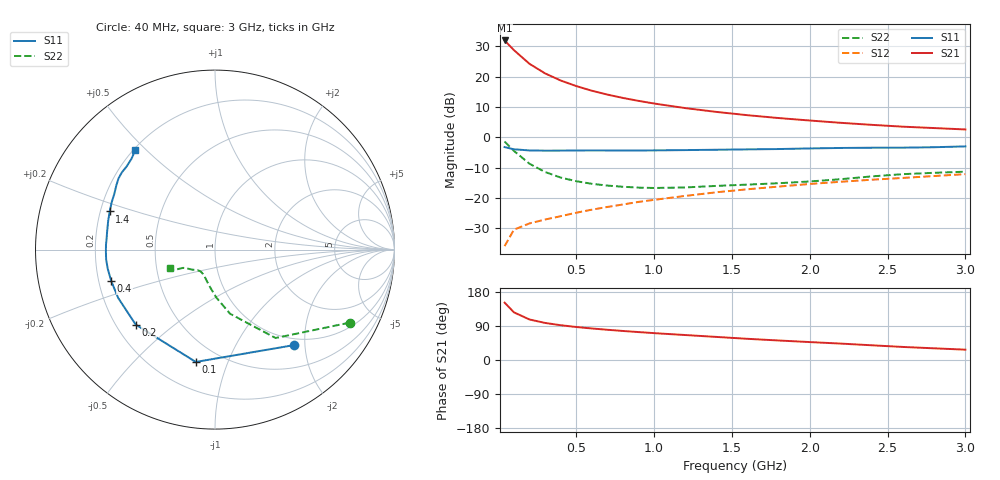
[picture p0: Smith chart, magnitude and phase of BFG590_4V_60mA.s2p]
! Filename:  BFG590F.S2P  Version:  4.0
! Philips part #: BFG590  Date: Jun 1994
! Bias condition: Vce=4V; Ic=60mA
#  MHz  S  MA  R  50
! Freq  S11  S21  S12  S22  !GUM [dB]
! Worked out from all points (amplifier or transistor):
!   21 points, 40 MHz to 3 GHz, reference 50 ohm
!   highest |S21| = 32.0 dB at 40 MHz (marker M1)
!   |S21| within 3 dB of that: start of sweep to 96.19 MHz
!   unconditionally stable (mu >= 1): 713.2 MHz to 2.613 GHz
!   at 300 MHz: K = 0.70, MSG = 24.1 dB, |S12| = -27.1 dB
!   at 1 GHz: K = 1.07, MAG = 14.2 dB, |S12| = -20.6 dB
!   at 3 GHz: K = 0.92, MSG = 7.4 dB, |S12| = -12.1 dB
!   S11 on the Smith chart (normalised r, x): 40 MHz: 0.88, -1.78; 100 MHz: 0.37, -0.77; 200 MHz: 0.28, -0.37; 400 MHz: 0.25, -0.14; 1.4 GHz: 0.24, +0.17; 3 GHz: 0.21, +0.46
40  0.69 -50.5  39.7 151.4  0.016 67.8  0.853 -28.5
100  0.635 -99.7  27.45 125.7  0.03 50.7  0.597 -55.6
200  0.608 -136.6  16.34 106.9  0.038 44.9  0.367 -76.8
300  0.603 -153.5  11.36 97.8  0.044 46.9  0.268 -88.3
400  0.604 -163.1  8.672 91.8  0.05 50.3  0.217 -96.3
500  0.607 -169.8  7.014 87.1  0.057 52.7  0.189 -102.5
600  0.609 -174.7  5.882 83.2  0.064 55.2  0.171 -107.5
700  0.608 -178.9  5.077 79.8  0.071 57.2  0.16 -111.8
800  0.608 177.5  4.469 76.6  0.078 58.7  0.153 -115.4
900  0.607 174.1  3.999 73.7  0.086 59.8  0.148 -119.4
1000  0.609 170.9  3.616 70.9  0.093 60.5  0.146 -123.1
1200  0.616 165.1  3.04 65.9  0.108 61.3  0.149 -129.6
1400  0.624 160.1  2.629 60.9  0.124 61.5  0.158 -134.1
1600  0.633 155.5  2.32 55.9  0.139 61.1  0.166 -137.5
1800  0.641 151.1  2.082 51.5  0.154 60.8  0.175 -141.2
2000  0.656 146.9  1.895 47.3  0.17 60.1  0.187 -145.9
2200  0.668 143.6  1.736 43.3  0.185 59.3  0.204 -150.1
2400  0.674 140.4  1.607 38.8  0.2 57.8  0.227 -151.9
2600  0.676 136.8  1.499 34.4  0.214 55.9  0.247 -152.9
2800  0.687 132.7  1.423 30.8  0.23 54.6  0.26 -154.2
3000  0.709 128.8  1.349 27.3  0.247 53.0  0.271 -157.4
